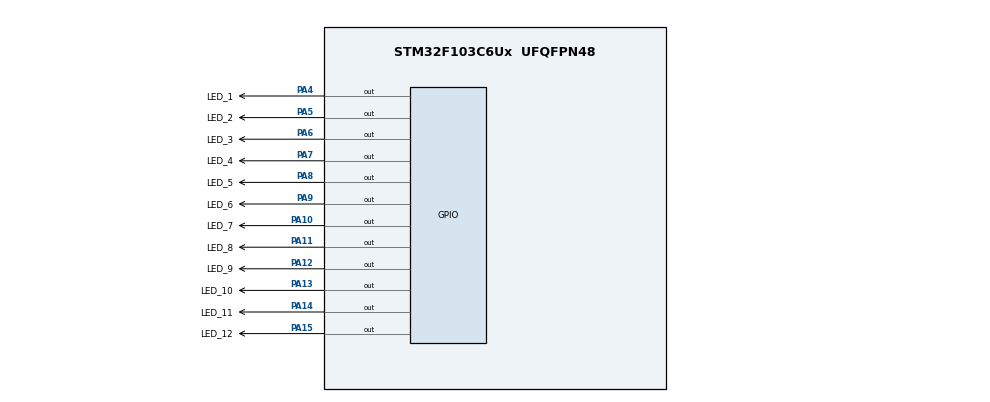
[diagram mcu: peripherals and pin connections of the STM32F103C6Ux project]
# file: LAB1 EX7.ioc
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Mcu.Family=STM32F1
Mcu.Name=STM32F103C6Ux
Mcu.Package=UFQFPN48
NVIC.PriorityGroup=NVIC_PRIORITYGROUP_4
PA10.GPIO_Label=LED_7
PA10.Signal=GPIO_Output
PA11.GPIO_Label=LED_8
PA11.Signal=GPIO_Output
PA12.GPIO_Label=LED_9
PA12.Signal=GPIO_Output
PA13.GPIO_Label=LED_10
PA13.Signal=GPIO_Output
PA14.GPIO_Label=LED_11
PA14.Signal=GPIO_Output
PA15.GPIO_Label=LED_12
PA15.Signal=GPIO_Output
PA4.GPIO_Label=LED_1
PA4.Signal=GPIO_Output
PA5.GPIO_Label=LED_2
PA5.Signal=GPIO_Output
PA6.GPIO_Label=LED_3
PA6.Signal=GPIO_Output
PA7.GPIO_Label=LED_4
PA7.Signal=GPIO_Output
PA8.GPIO_Label=LED_5
PA8.Signal=GPIO_Output
PA9.GPIO_Label=LED_6
PA9.Signal=GPIO_Output
ProjectManager.HeapSize=0x200
ProjectManager.StackSize=0x400
ProjectManager.TargetToolchain=STM32CubeIDE
RCC.APB1Freq_Value=8000000
RCC.APB2Freq_Value=8000000
VP_SYS_VS_ND.Mode=No_Debug
board=custom

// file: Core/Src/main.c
/* USER CODE BEGIN Header */
/**
  ******************************************************************************
  * @file           : main.c
  * @brief          : Main program body
  ******************************************************************************
  * @attention
  *
  * <h2><center>&copy; Copyright (c) 2022 STMicroelectronics.
  * All rights reserved.</center></h2>
  *
  * This software component is licensed by ST under BSD 3-Clause license,
  * the "License"; You may not use this file except in compliance with the
  * License. You may obtain a copy of the License at:
  *                        opensource.org/licenses/BSD-3-Clause
  *
  ******************************************************************************
  */
/* USER CODE END Header */
#include "main.h"

void SystemClock_Config(void);
static void MX_GPIO_Init(void);

int main(void)
{

  /* MCU Configuration--------------------------------------------------------*/

  /* Reset of all peripherals, Initializes the Flash interface and the Systick. */
  HAL_Init();

  /* Configure the system clock */
  SystemClock_Config();

  /* Initialize all configured peripherals */
  MX_GPIO_Init();

  /* Infinite loop */
  /* USER CODE BEGIN WHILE */

  void clearAllClock(){
  		  HAL_GPIO_WritePin(LED_1_GPIO_Port, LED_1_Pin, RESET);
  		  		  HAL_GPIO_WritePin(LED_2_GPIO_Port, LED_2_Pin, RESET);
  		  		  HAL_GPIO_WritePin(LED_3_GPIO_Port, LED_3_Pin, RESET);
  		  		  HAL_GPIO_WritePin(LED_4_GPIO_Port, LED_4_Pin, RESET);
  		  		  HAL_GPIO_WritePin(LED_5_GPIO_Port, LED_5_Pin, RESET);
  		  		  HAL_GPIO_WritePin(LED_6_GPIO_Port, LED_6_Pin, RESET);
  		  		  HAL_GPIO_WritePin(LED_7_GPIO_Port, LED_7_Pin, RESET);
  		  		  HAL_GPIO_WritePin(LED_8_GPIO_Port, LED_8_Pin, RESET);
  		  		  HAL_GPIO_WritePin(LED_9_GPIO_Port, LED_9_Pin, RESET);
  		  		  HAL_GPIO_WritePin(LED_10_GPIO_Port, LED_10_Pin, RESET);
  		  		  HAL_GPIO_WritePin(LED_11_GPIO_Port, LED_11_Pin, RESET);
  		  		  HAL_GPIO_WritePin(LED_12_GPIO_Port, LED_12_Pin, RESET);
  	  }

  while (1)
  {

	  clearAllClock();
	  HAL_Delay(1000);

    /* USER CODE END WHILE */

  }
}

void SystemClock_Config(void)
{
  RCC_OscInitTypeDef RCC_OscInitStruct = {0};
  RCC_ClkInitTypeDef RCC_ClkInitStruct = {0};

  /** Initializes the RCC Oscillators according to the specified parameters
  * in the RCC_OscInitTypeDef structure.
  */
  RCC_OscInitStruct.OscillatorType = RCC_OSCILLATORTYPE_HSI;
  RCC_OscInitStruct.HSIState = RCC_HSI_ON;
  RCC_OscInitStruct.HSICalibrationValue = RCC_HSICALIBRATION_DEFAULT;
  RCC_OscInitStruct.PLL.PLLState = RCC_PLL_NONE;
  if (HAL_RCC_OscConfig(&RCC_OscInitStruct) != HAL_OK)
  {
    Error_Handler();
  }
  /** Initializes the CPU, AHB and APB buses clocks
  */
  RCC_ClkInitStruct.ClockType = RCC_CLOCKTYPE_HCLK|RCC_CLOCKTYPE_SYSCLK
                              |RCC_CLOCKTYPE_PCLK1|RCC_CLOCKTYPE_PCLK2;
  RCC_ClkInitStruct.SYSCLKSource = RCC_SYSCLKSOURCE_HSI;
  RCC_ClkInitStruct.AHBCLKDivider = RCC_SYSCLK_DIV1;
  RCC_ClkInitStruct.APB1CLKDivider = RCC_HCLK_DIV1;
  RCC_ClkInitStruct.APB2CLKDivider = RCC_HCLK_DIV1;

  if (HAL_RCC_ClockConfig(&RCC_ClkInitStruct, FLASH_LATENCY_0) != HAL_OK)
  {
    Error_Handler();
  }
}

static void MX_GPIO_Init(void)
{
  GPIO_InitTypeDef GPIO_InitStruct = {0};

  /* GPIO Ports Clock Enable */
  __HAL_RCC_GPIOA_CLK_ENABLE();

  /*Configure GPIO pin Output Level */
  HAL_GPIO_WritePin(GPIOA, LED_1_Pin|LED_2_Pin|LED_3_Pin|LED_4_Pin
                          |LED_5_Pin|LED_6_Pin|LED_7_Pin|LED_8_Pin
                          |LED_9_Pin|LED_10_Pin|LED_11_Pin|LED_12_Pin, GPIO_PIN_RESET);

  /*Configure GPIO pins : LED_1_Pin LED_2_Pin LED_3_Pin LED_4_Pin
                           LED_5_Pin LED_6_Pin LED_7_Pin LED_8_Pin
                           LED_9_Pin LED_10_Pin LED_11_Pin LED_12_Pin */
  GPIO_InitStruct.Pin = LED_1_Pin|LED_2_Pin|LED_3_Pin|LED_4_Pin
                          |LED_5_Pin|LED_6_Pin|LED_7_Pin|LED_8_Pin
                          |LED_9_Pin|LED_10_Pin|LED_11_Pin|LED_12_Pin;
  GPIO_InitStruct.Mode = GPIO_MODE_OUTPUT_PP;
  GPIO_InitStruct.Pull = GPIO_NOPULL;
  GPIO_InitStruct.Speed = GPIO_SPEED_FREQ_LOW;
  HAL_GPIO_Init(GPIOA, &GPIO_InitStruct);

}

void Error_Handler(void)
{
  __disable_irq();
  while (1)
  {
  }
}

/************************ (C) COPYRIGHT STMicroelectronics *****END OF FILE****/
